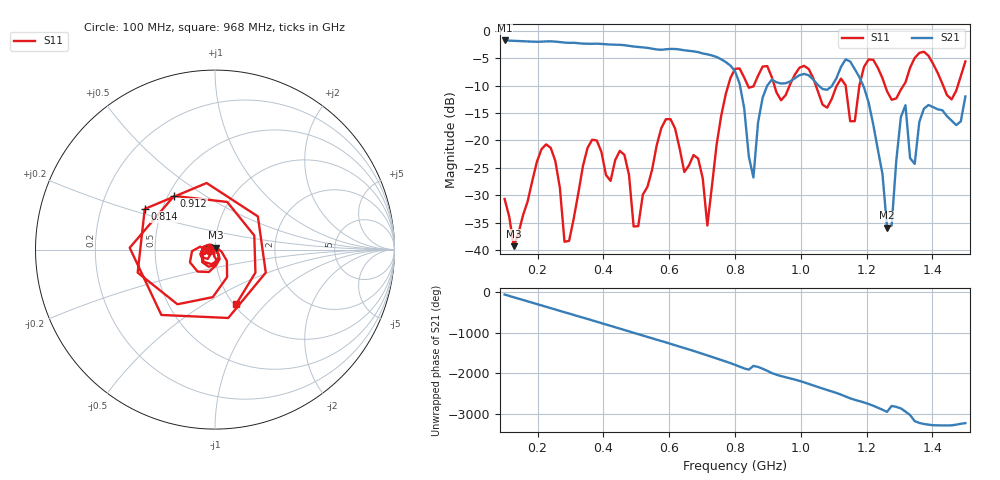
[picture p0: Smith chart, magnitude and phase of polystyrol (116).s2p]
! NanoVNA-App
! Date: 2025-09-26 09:42:47
! Start: 100MHz Stop: 1,5GHz Points: 101
! S-Parameter data: F S11 S21 S12 S22
# Hz S RI R 50
!  Frequency  S11_Real  S11_Imag  S21_Real  S21_Imag  S12_Real  S12_Imag  S22_Real  S22_Imag
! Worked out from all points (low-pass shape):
!   101 points, 100 MHz to 1.5 GHz, reference 50 ohm
!   highest |S21| = -1.79 dB at 100 MHz (marker M1); lowest = -35.9 dB at 1.262 GHz (marker M2)
!   |S21| within 3 dB of the highest: start of sweep to 743.8 MHz
!   lowest |S11| = -39.2 dB at 128 MHz (marker M3), VSWR 1.02, Z = 50.3 + j1.06 ohm
!   |S11| at or under -10 dB: start of sweep to 779.4 MHz; 1.046 GHz to 1.11 GHz (63.85 MHz wide, 5.92 % of centre); 1.256 GHz to 1.312 GHz (55.89 MHz wide, 4.35 % of centre)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
!   S12 and S22 are empty: the file has one direction only
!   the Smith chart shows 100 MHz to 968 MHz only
!   S11 on the Smith chart (normalised r, x): 100 MHz: 0.94, -0.01; 814 MHz: 0.40, +0.23; 912 MHz: 0.54, +0.37; 968 MHz: 1.02, -0.70
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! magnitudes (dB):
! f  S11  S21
! 100 MHz  -30.7  -1.8
! 128 MHz  -39.2  -1.9
! 212 MHz  -21.6  -2.0
! 282 MHz  -38.4  -2.2
! 338 MHz  -24.7  -2.4
! 464 MHz  -22.6  -2.6
! 506 MHz  -35.6  -3.0
! 576 MHz  -17.8  -3.5
! 688 MHz  -23.3  -3.9
! 716 MHz  -35.5  -4.3
! 800 MHz  -6.9  -7.4
! 814 MHz  -6.9  -9.6
! 856 MHz  -10.2  -26.7
! 912 MHz  -8.5  -8.9
! 968 MHz  -9.7  -9.2
! 1.038 GHz  -8.7  -8.9
! 1.178 GHz  -10.0  -8.5
! 1.262 GHz  -11.1  -35.9
! 1.276 GHz  -12.6  -35.5
! 1.318 GHz  -9.4  -13.6
! 1.346 GHz  -5.0  -24.3
! 1.5 GHz  -5.6  -12.0
